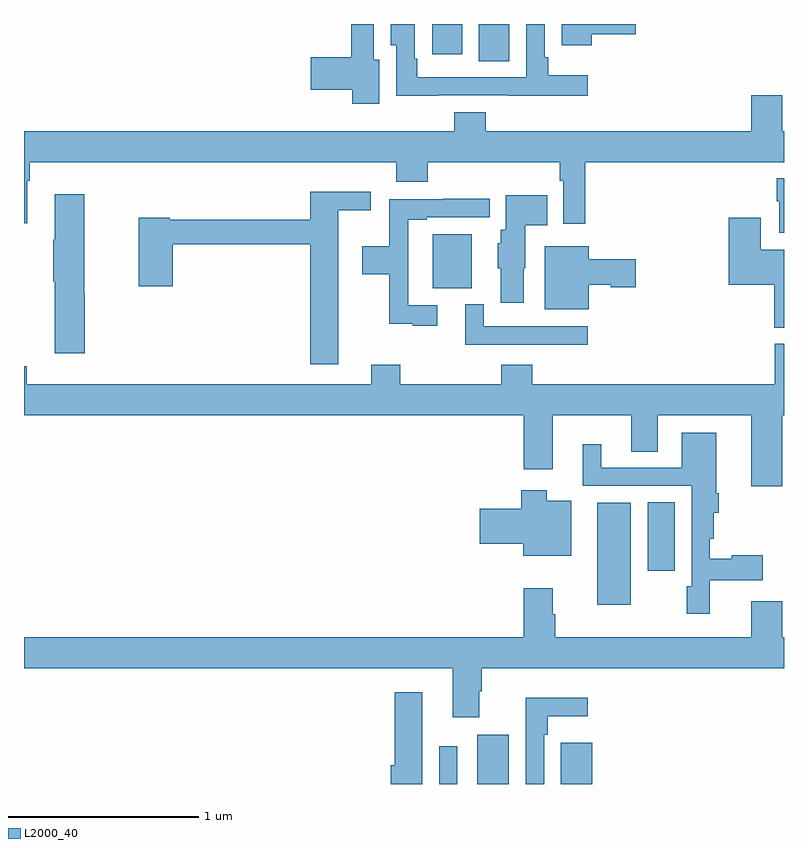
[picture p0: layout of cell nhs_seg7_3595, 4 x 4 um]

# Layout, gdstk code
import gdstk
lib = gdstk.Library(unit=1e-6, precision=1e-09)
def R(c, l, rs):  # rectangles x0, y0, x1, y1
    for r in rs: c.add(gdstk.rectangle(r[:2], r[2:], *l))
def P(c, l, *ps):  # polygons
    for p in ps: c.add(gdstk.Polygon(p, *l))
L2000_40 = (2000, 40)

nhs_seg7_3595 = lib.new_cell('nhs_seg7_3595')
R(nhs_seg7_3595, L2000_40, [(343.185,1008,343.281,1008.199), (343.385,1008,343.552,1008.259), (343.826,1008,343.99,1008.217), (344.018,1008.944,344.194,1009.48), (344.282,1009.122,344.425,1009.484), (343.151,1010.609,343.357,1010.893), (343.394,1011.805,343.555,1012), (343.148,1011.84,343.306,1012)])
P(nhs_seg7_3595, L2000_40, [(343.181,1011.624),(343.547,1011.624),(343.547,1011.623),(343.966,1011.623),(343.966,1011.73),(343.76,1011.73),(343.76,1011.826),(343.74,1011.826),(343.74,1012),(343.644,1012),(343.644,1011.72),(343.069,1011.72),(343.069,1011.817),(343.056,1011.817),(343.056,1012),(342.929,1012),(342.929,1011.889),(342.96,1011.889),(342.96,1011.623),(343.181,1011.623)],
  [(343.988,1011.947),(344.221,1011.947),(344.221,1012),(343.829,1012),(343.829,1011.888),(343.988,1011.888)],
  [(342.871,1011.811),(342.841,1011.811),(342.841,1012),(342.723,1012),(342.723,1011.824),(342.51,1011.824),(342.51,1011.653),(342.728,1011.653),(342.728,1011.579),(342.871,1011.579)],
  [(343.955,1011.272),(345,1011.272),(345,1011.436),(344.992,1011.436),(344.992,1011.625),(344.828,1011.625),(344.828,1011.436),(343.43,1011.436),(343.43,1011.535),(343.265,1011.535),(343.265,1011.436),(341,1011.436),(341,1010.952),(341.017,1010.952),(341.017,1011.176),(341.03,1011.176),(341.03,1011.272),(342.959,1011.272),(342.959,1011.17),(343.124,1011.17),(343.124,1011.272),(343.819,1011.272),(343.819,1011.176),(343.839,1011.176),(343.839,1010.949),(343.955,1010.949)],
  [(345,1011.187),(344.963,1011.187),(344.963,1011.067),(344.975,1011.067),(344.975,1010.901),(345,1010.901)],
  [(342.655,1011.02),(342.826,1011.02),(342.826,1011.118),(342.506,1011.118),(342.506,1010.971),(341.766,1010.971),(341.766,1010.979),(341.605,1010.979),(341.605,1010.619),(341.783,1010.619),(341.783,1010.842),(342.506,1010.842),(342.506,1010.208),(342.655,1010.208)],
  [(341.321,1010.58),(341.316,1010.58),(341.316,1011.103),(341.162,1011.103),(341.162,1010.864),(341.155,1010.864),(341.155,1010.647),(341.162,1010.647),(341.162,1010.268),(341.321,1010.268)],
  [(343.63,1010.715),(343.639,1010.715),(343.639,1010.942),(343.754,1010.942),(343.754,1011.1),(343.535,1011.1),(343.535,1010.916),(343.508,1010.916),(343.508,1010.847),(343.493,1010.847),(343.493,1010.715),(343.508,1010.715),(343.508,1010.532),(343.63,1010.532)],
  [(343.174,1010.52),(343.023,1010.52),(343.023,1010.97),(343.12,1010.97),(343.12,1010.982),(343.45,1010.982),(343.45,1011.08),(343.207,1011.08),(343.207,1011.078),(342.922,1011.078),(342.922,1010.83),(342.78,1010.83),(342.78,1010.683),(342.922,1010.683),(342.922,1010.423),(343.046,1010.423),(343.046,1010.412),(343.174,1010.412)],
  [(345,1010.812),(344.878,1010.812),(344.878,1010.98),(344.708,1010.98),(344.708,1010.627),(344.948,1010.627),(344.948,1010.401),(345,1010.401)],
  [(343.972,1010.627),(344.088,1010.627),(344.088,1010.615),(344.221,1010.615),(344.221,1010.762),(343.972,1010.762),(343.972,1010.83),(343.742,1010.83),(343.742,1010.498),(343.972,1010.498)],
  [(343.966,1010.409),(343.419,1010.409),(343.419,1010.524),(343.322,1010.524),(343.322,1010.313),(343.966,1010.313)],
  [(344.992,1009.94),(345,1009.94),(345,1010.316),(344.951,1010.316),(344.951,1010.104),(343.676,1010.104),(343.676,1010.206),(343.511,1010.206),(343.511,1010.104),(342.98,1010.104),(342.98,1010.206),(342.827,1010.206),(342.827,1010.104),(341.015,1010.104),(341.015,1010.2),(341,1010.2),(341,1009.94),(343.631,1009.94),(343.631,1009.656),(343.783,1009.656),(343.783,1009.94),(344.195,1009.94),(344.195,1009.75),(344.335,1009.75),(344.335,1009.94),(344.828,1009.94),(344.828,1009.566),(344.992,1009.566)],
  [(344.61,1009.073),(344.887,1009.073),(344.887,1009.203),(344.724,1009.203),(344.724,1009.185),(344.61,1009.185),(344.61,1009.291),(344.63,1009.291),(344.63,1009.427),(344.657,1009.427),(344.657,1009.531),(344.644,1009.531),(344.644,1009.849),(344.462,1009.849),(344.462,1009.665),(344.038,1009.665),(344.038,1009.789),(343.94,1009.789),(343.94,1009.569),(344.514,1009.569),(344.514,1009.041),(344.488,1009.041),(344.488,1008.897),(344.61,1008.897)],
  [(343.879,1009.492),(343.75,1009.492),(343.75,1009.546),(343.616,1009.546),(343.616,1009.448),(343.398,1009.448),(343.398,1009.265),(343.628,1009.265),(343.628,1009.202),(343.879,1009.202)],
  [(343.396,1008.488),(343.409,1008.488),(343.409,1008.608),(345,1008.608),(345,1008.772),(344.992,1008.772),(344.992,1008.961),(344.828,1008.961),(344.828,1008.772),(343.796,1008.772),(343.796,1008.893),(343.783,1008.893),(343.783,1009.03),(343.631,1009.03),(343.631,1008.772),(341,1008.772),(341,1008.608),(343.256,1008.608),(343.256,1008.351),(343.396,1008.351)],
  [(343.096,1008.484),(342.95,1008.484),(342.95,1008.099),(342.929,1008.099),(342.929,1008),(343.096,1008)],
  [(343.737,1008.26),(343.757,1008.26),(343.757,1008.356),(343.966,1008.356),(343.966,1008.454),(343.641,1008.454),(343.641,1008),(343.737,1008)])

lib.write_gds('nhs_seg7_3595.gds')
